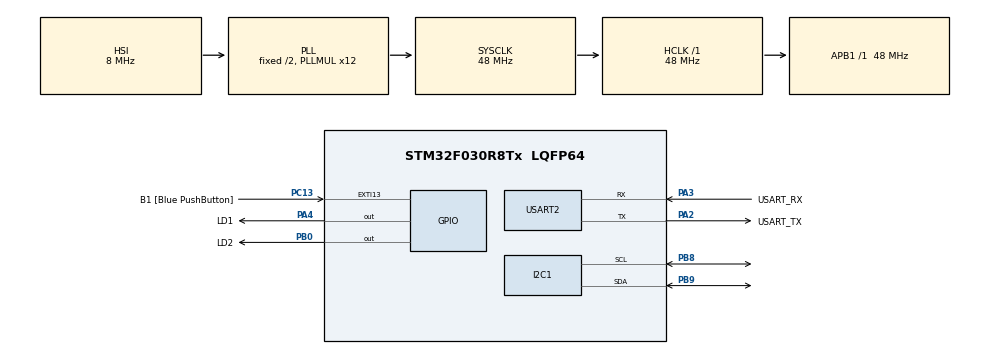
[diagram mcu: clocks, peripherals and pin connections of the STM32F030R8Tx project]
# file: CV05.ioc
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Dma.Request0=USART2_RX
Dma.USART2_RX.0.Direction=DMA_PERIPH_TO_MEMORY
Dma.USART2_RX.0.Instance=DMA1_Channel5
Dma.USART2_RX.0.MemDataAlignment=DMA_MDATAALIGN_BYTE
Dma.USART2_RX.0.MemInc=DMA_MINC_ENABLE
Dma.USART2_RX.0.Mode=DMA_CIRCULAR
Dma.USART2_RX.0.PeriphDataAlignment=DMA_PDATAALIGN_BYTE
Dma.USART2_RX.0.PeriphInc=DMA_PINC_DISABLE
Dma.USART2_RX.0.Priority=DMA_PRIORITY_LOW
Mcu.Family=STM32F0
Mcu.Name=STM32F030R8Tx
Mcu.Package=LQFP64
NVIC.DMA1_Channel4_5_IRQn=true\:0\:0\:false\:false\:true\:false\:true\:true
PA13.GPIO_Label=TMS
PA13.Mode=Serial_Wire
PA13.Signal=SYS_SWDIO
PA14.GPIO_Label=TCK
PA14.Mode=Serial_Wire
PA14.Signal=SYS_SWCLK
PA2.GPIO_Label=USART_TX
PA2.GPIO_Mode=GPIO_MODE_AF_PP
PA2.GPIO_PuPd=GPIO_NOPULL
PA2.GPIO_Speed=GPIO_SPEED_FREQ_LOW
PA2.Mode=Asynchronous
PA2.Signal=USART2_TX
PA3.GPIO_Label=USART_RX
PA3.GPIO_Mode=GPIO_MODE_AF_PP
PA3.GPIO_PuPd=GPIO_NOPULL
PA3.GPIO_Speed=GPIO_SPEED_FREQ_LOW
PA3.Mode=Asynchronous
PA3.Signal=USART2_RX
PA4.GPIO_Label=LD1
PA4.Signal=GPIO_Output
PB0.GPIO_Label=LD2
PB0.Signal=GPIO_Output
PB8.Mode=I2C
PB8.Signal=I2C1_SCL
PB9.Mode=I2C
PB9.Signal=I2C1_SDA
PC13.GPIO_Label=B1 [Blue PushButton]
PC13.GPIO_ModeDefaultEXTI=GPIO_MODE_IT_FALLING
PC13.Signal=GPXTI13
PC14-OSC32_IN.Mode=LSE-External-Oscillator
PC14-OSC32_IN.Signal=RCC_OSC32_IN
PC15-OSC32_OUT.Mode=LSE-External-Oscillator
PC15-OSC32_OUT.Signal=RCC_OSC32_OUT
PF0-OSC_IN.Mode=HSE-External-Clock-Source
PF0-OSC_IN.Signal=RCC_OSC_IN
PF1-OSC_OUT.Signal=RCC_OSC_OUT
ProjectManager.HeapSize=0x200
ProjectManager.StackSize=0x400
ProjectManager.TargetToolchain=STM32CubeIDE
RCC.AHBFreq_Value=48000000
RCC.APB1Freq_Value=48000000
RCC.APB1TimFreq_Value=48000000
RCC.HCLKFreq_Value=48000000
RCC.PLLMUL=RCC_PLL_MUL12
RCC.SYSCLKFreq_VALUE=48000000
RCC.SYSCLKSource=RCC_SYSCLKSOURCE_PLLCLK
USART2.VirtualMode-Asynchronous=VM_ASYNC
board=NUCLEO-F030R8

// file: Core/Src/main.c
/* USER CODE BEGIN Header */
/**
  ******************************************************************************
  * @file           : main.c
  * @brief          : Main program body
  ******************************************************************************
  * @attention
  *
  * Copyright (c) 2023 STMicroelectronics.
  * All rights reserved.
  *
  * This software is licensed under terms that can be found in the LICENSE file
  * in the root directory of this software component.
  * If no LICENSE file comes with this software, it is provided AS-IS.
  *
  ******************************************************************************
  */
/* USER CODE END Header */
#include "main.h"

/* USER CODE BEGIN Includes */
#include <stdio.h>
#include <string.h>
#include <stdlib.h>

/* USER CODE END Includes */

I2C_HandleTypeDef hi2c1;
UART_HandleTypeDef huart2;
DMA_HandleTypeDef hdma_usart2_rx;

/* USER CODE BEGIN PV */
#define RX_BUFFER_LEN 64
#define CMD_BUFFER_LEN 256
static uint8_t uart_rx_buf[RX_BUFFER_LEN];
static volatile uint16_t uart_rx_read_ptr = 0;
#define uart_rx_write_ptr (RX_BUFFER_LEN - hdma_usart2_rx.Instance->CNDTR)

/* USER CODE END PV */

void SystemClock_Config(void);
static void MX_GPIO_Init(void);
static void MX_DMA_Init(void);
static void MX_USART2_UART_Init(void);
static void MX_I2C1_Init(void);

/* USER CODE BEGIN 0 */

static void uart_process_command(char *cmd) {

char *token;
// HELLO
	token = strtok(cmd, " ");
	if (strcasecmp(token, "HELLO") == 0) {
		printf("Komunikacia OK\n");
// LED1
	} else if (strcasecmp(token, "LED1") == 0) {
		token = strtok(NULL, " ");
		if (strcasecmp(token, "ON") == 0) {
			HAL_GPIO_WritePin(LD1_GPIO_Port, LD1_Pin, GPIO_PIN_SET);
			printf("Done\n");

		} else if (strcasecmp(token, "OFF") == 0) {
			HAL_GPIO_WritePin(LD1_GPIO_Port, LD1_Pin, GPIO_PIN_RESET);
			printf("Done\n");
		}
	}
// LED2
	else if (strcasecmp(token, "LED2") == 0) {
		token = strtok(NULL, " ");
		if (strcasecmp(token, "ON") == 0) {
			HAL_GPIO_WritePin(LD2_GPIO_Port, LD2_Pin, GPIO_PIN_SET);
			printf("Done\n");
		} else if (strcasecmp(token, "OFF") == 0) {
			HAL_GPIO_WritePin(LD2_GPIO_Port, LD2_Pin, GPIO_PIN_RESET);
			printf("Done\n");
		}
	}

// STATUS
	else if (strcasecmp(token, "STATUS") == 0) {
		uint8_t LED1 = HAL_GPIO_ReadPin(LD1_GPIO_Port, LD1_Pin);
		uint8_t LED2 = HAL_GPIO_ReadPin(LD2_GPIO_Port, LD2_Pin);
		const char *LED1_text;
		const char *LED2_text;
		if (LED1 == 0) {
			LED1_text = "ON";
		} else if (LED1 == 1) {
			LED1_text = "OFF";
		}
		if (LED2 == 0) {
			LED2_text = "ON";
		} else if (LED2 == 1) {
			LED2_text = "OFF";
		}
		printf("LED 1 STATUS:'%s' LED 2 STATUS:'%s'\n", LED1_text, LED2_text);
	}

// READ
	else if (strcasecmp(token, "READ") == 0) {
	    token = strtok(NULL, " ");
	    uint16_t address = atoi(token);
	    uint8_t value;
	    HAL_I2C_Mem_Read(&hi2c1, 0xA0, address, I2C_MEMADD_SIZE_16BIT, &value, 1, 1000);
	    printf("Adresa 0x%04X = 0x%02X\n", address, value);
	}

// WRITE
		else if (strcasecmp(token, "WRITE") == 0) {
			token = strtok(NULL, " ");
			uint16_t address = atoi(token);
			token = strtok(NULL, " ");
			uint8_t value = atoi(token);
			HAL_I2C_Mem_Write(&hi2c1, 0xA0, address, I2C_MEMADD_SIZE_16BIT, &value, 1, 1000);
			/* Check if the EEPROM is ready for a new operation */
			while (HAL_I2C_IsDeviceReady(&hi2c1, 0xA0, 300, 1000) == HAL_TIMEOUT) {}
			printf("Done\n");
		}

// DUMP
		else if (strcasecmp(token, "DUMP") == 0) {
			uint8_t value;
			for(uint16_t address = 0x0000; address < 0x000F; address = address + 1 ){
				HAL_I2C_Mem_Read(&hi2c1, 0xA0, address, I2C_MEMADD_SIZE_16BIT, &value, 1, 1000);
				printf("Adresa 0x%04X = 0x%02X\n", address, value);
		}
	}

}

static void uart_byte_available(uint8_t c)
{
 static uint16_t cnt;
 static char data[CMD_BUFFER_LEN];
 if (cnt < CMD_BUFFER_LEN && c >= 32 && c <= 126) data[cnt++] = c;
 if ((c == '\n' || c == '\r') && cnt > 0) {
 data[cnt] = '\0';
 uart_process_command(data);
 cnt = 0;
 }
}

int _write(int file, char const *buf, int n)
{
 /* stdout redirection to UART2 */
 HAL_UART_Transmit(&huart2, (uint8_t*)(buf), n, HAL_MAX_DELAY);
 return n;
}

/* USER CODE END 0 */

int main(void)
{

  /* MCU Configuration--------------------------------------------------------*/

  /* Reset of all peripherals, Initializes the Flash interface and the Systick. */
  HAL_Init();

  /* Configure the system clock */
  SystemClock_Config();

  /* Initialize all configured peripherals */
  MX_GPIO_Init();
  MX_DMA_Init();
  MX_USART2_UART_Init();
  MX_I2C1_Init();
  /* USER CODE BEGIN 2 */
  HAL_UART_Receive_DMA(&huart2, uart_rx_buf, RX_BUFFER_LEN);
   /* USER CODE END 2 */

  /* Infinite loop */
  /* USER CODE BEGIN WHILE */
  while (1)
  {
	  //uint8_t c;
	  //HAL_UART_Receive(&huart2, &c, 1, HAL_MAX_DELAY);
	  //HAL_UART_Transmit(&huart2, &c, 1, HAL_MAX_DELAY);

	  while (uart_rx_read_ptr != uart_rx_write_ptr) {
	   uint8_t b = uart_rx_buf[uart_rx_read_ptr];
	   if (++uart_rx_read_ptr >= RX_BUFFER_LEN) uart_rx_read_ptr = 0; // increase read pointer
	   uart_byte_available(b); // process every received byte with the RX state machine
	  }

    /* USER CODE END WHILE */

  }
}

void SystemClock_Config(void)
{
  RCC_OscInitTypeDef RCC_OscInitStruct = {0};
  RCC_ClkInitTypeDef RCC_ClkInitStruct = {0};
  RCC_PeriphCLKInitTypeDef PeriphClkInit = {0};

  /** Initializes the RCC Oscillators according to the specified parameters
  * in the RCC_OscInitTypeDef structure.
  */
  RCC_OscInitStruct.OscillatorType = RCC_OSCILLATORTYPE_HSI;
  RCC_OscInitStruct.HSIState = RCC_HSI_ON;
  RCC_OscInitStruct.HSICalibrationValue = RCC_HSICALIBRATION_DEFAULT;
  RCC_OscInitStruct.PLL.PLLState = RCC_PLL_ON;
  RCC_OscInitStruct.PLL.PLLSource = RCC_PLLSOURCE_HSI;
  RCC_OscInitStruct.PLL.PLLMUL = RCC_PLL_MUL12;
  RCC_OscInitStruct.PLL.PREDIV = RCC_PREDIV_DIV1;
  if (HAL_RCC_OscConfig(&RCC_OscInitStruct) != HAL_OK)
  {
    Error_Handler();
  }

  /** Initializes the CPU, AHB and APB buses clocks
  */
  RCC_ClkInitStruct.ClockType = RCC_CLOCKTYPE_HCLK|RCC_CLOCKTYPE_SYSCLK
                              |RCC_CLOCKTYPE_PCLK1;
  RCC_ClkInitStruct.SYSCLKSource = RCC_SYSCLKSOURCE_PLLCLK;
  RCC_ClkInitStruct.AHBCLKDivider = RCC_SYSCLK_DIV1;
  RCC_ClkInitStruct.APB1CLKDivider = RCC_HCLK_DIV1;

  if (HAL_RCC_ClockConfig(&RCC_ClkInitStruct, FLASH_LATENCY_1) != HAL_OK)
  {
    Error_Handler();
  }
  PeriphClkInit.PeriphClockSelection = RCC_PERIPHCLK_I2C1;
  PeriphClkInit.I2c1ClockSelection = RCC_I2C1CLKSOURCE_HSI;
  if (HAL_RCCEx_PeriphCLKConfig(&PeriphClkInit) != HAL_OK)
  {
    Error_Handler();
  }
}

static void MX_I2C1_Init(void)
{

  hi2c1.Instance = I2C1;
  hi2c1.Init.Timing = 0x2000090E;
  hi2c1.Init.OwnAddress1 = 0;
  hi2c1.Init.AddressingMode = I2C_ADDRESSINGMODE_7BIT;
  hi2c1.Init.DualAddressMode = I2C_DUALADDRESS_DISABLE;
  hi2c1.Init.OwnAddress2 = 0;
  hi2c1.Init.OwnAddress2Masks = I2C_OA2_NOMASK;
  hi2c1.Init.GeneralCallMode = I2C_GENERALCALL_DISABLE;
  hi2c1.Init.NoStretchMode = I2C_NOSTRETCH_DISABLE;
  if (HAL_I2C_Init(&hi2c1) != HAL_OK)
  {
    Error_Handler();
  }

  /** Configure Analogue filter
  */
  if (HAL_I2CEx_ConfigAnalogFilter(&hi2c1, I2C_ANALOGFILTER_ENABLE) != HAL_OK)
  {
    Error_Handler();
  }

  /** Configure Digital filter
  */
  if (HAL_I2CEx_ConfigDigitalFilter(&hi2c1, 0) != HAL_OK)
  {
    Error_Handler();
  }

}

static void MX_USART2_UART_Init(void)
{

  huart2.Instance = USART2;
  huart2.Init.BaudRate = 38400;
  huart2.Init.WordLength = UART_WORDLENGTH_8B;
  huart2.Init.StopBits = UART_STOPBITS_1;
  huart2.Init.Parity = UART_PARITY_NONE;
  huart2.Init.Mode = UART_MODE_TX_RX;
  huart2.Init.HwFlowCtl = UART_HWCONTROL_NONE;
  huart2.Init.OverSampling = UART_OVERSAMPLING_16;
  huart2.Init.OneBitSampling = UART_ONE_BIT_SAMPLE_DISABLE;
  huart2.AdvancedInit.AdvFeatureInit = UART_ADVFEATURE_NO_INIT;
  if (HAL_UART_Init(&huart2) != HAL_OK)
  {
    Error_Handler();
  }

}

static void MX_DMA_Init(void)
{

  /* DMA controller clock enable */
  __HAL_RCC_DMA1_CLK_ENABLE();

  /* DMA interrupt init */
  /* DMA1_Channel4_5_IRQn interrupt configuration */
  HAL_NVIC_SetPriority(DMA1_Channel4_5_IRQn, 0, 0);
  HAL_NVIC_EnableIRQ(DMA1_Channel4_5_IRQn);

}

static void MX_GPIO_Init(void)
{
  GPIO_InitTypeDef GPIO_InitStruct = {0};

  /* GPIO Ports Clock Enable */
  __HAL_RCC_GPIOC_CLK_ENABLE();
  __HAL_RCC_GPIOF_CLK_ENABLE();
  __HAL_RCC_GPIOA_CLK_ENABLE();
  __HAL_RCC_GPIOB_CLK_ENABLE();

  /*Configure GPIO pin Output Level */
  HAL_GPIO_WritePin(LD1_GPIO_Port, LD1_Pin, GPIO_PIN_RESET);

  /*Configure GPIO pin Output Level */
  HAL_GPIO_WritePin(LD2_GPIO_Port, LD2_Pin, GPIO_PIN_RESET);

  /*Configure GPIO pin : B1_Pin */
  GPIO_InitStruct.Pin = B1_Pin;
  GPIO_InitStruct.Mode = GPIO_MODE_IT_FALLING;
  GPIO_InitStruct.Pull = GPIO_NOPULL;
  HAL_GPIO_Init(B1_GPIO_Port, &GPIO_InitStruct);

  /*Configure GPIO pin : LD1_Pin */
  GPIO_InitStruct.Pin = LD1_Pin;
  GPIO_InitStruct.Mode = GPIO_MODE_OUTPUT_PP;
  GPIO_InitStruct.Pull = GPIO_NOPULL;
  GPIO_InitStruct.Speed = GPIO_SPEED_FREQ_LOW;
  HAL_GPIO_Init(LD1_GPIO_Port, &GPIO_InitStruct);

  /*Configure GPIO pin : LD2_Pin */
  GPIO_InitStruct.Pin = LD2_Pin;
  GPIO_InitStruct.Mode = GPIO_MODE_OUTPUT_PP;
  GPIO_InitStruct.Pull = GPIO_NOPULL;
  GPIO_InitStruct.Speed = GPIO_SPEED_FREQ_LOW;
  HAL_GPIO_Init(LD2_GPIO_Port, &GPIO_InitStruct);

}

void Error_Handler(void)
{
  __disable_irq();
  while (1)
  {
  }
}
